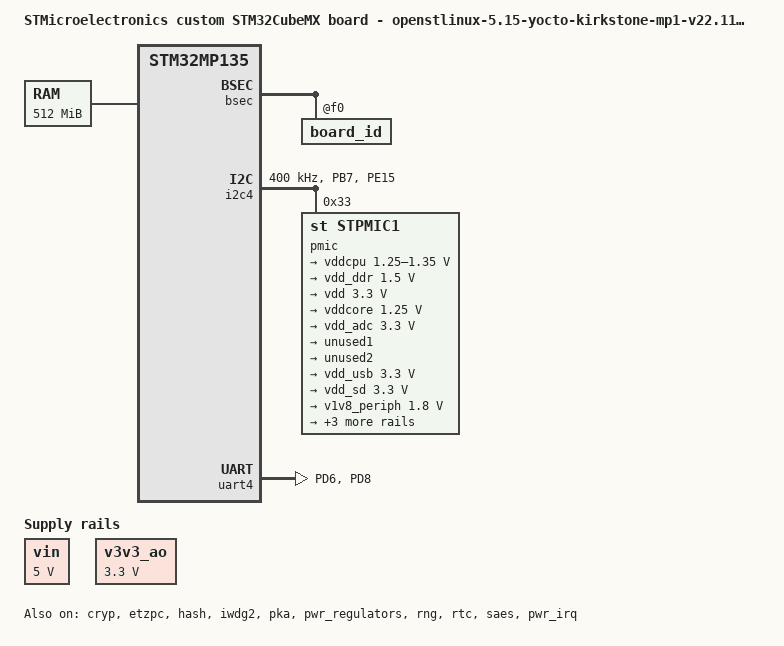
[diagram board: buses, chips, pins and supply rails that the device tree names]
/* SPDX-License-Identifier: (GPL-2.0+ OR BSD-3-Clause) */
/*
 * Copyright (C) STMicroelectronics 2023 - All Rights Reserved
 * Author: STM32CubeMX code generation for STMicroelectronics.
 */

/* For more information on Device Tree configuration, please refer to
 * https://wiki.st.com/stm32mpu/wiki/Category:Device_tree_configuration
 */

/dts-v1/;
#include <dt-bindings/pinctrl/stm32-pinfunc.h>
#include <dt-bindings/clock/stm32mp13-clksrc.h>
#include <dt-bindings/soc/stm32mp13-etzpc.h>

#include "stm32mp135.dtsi"
#include "stm32mp13xf.dtsi"

/* USER CODE BEGIN includes */
#include <dt-bindings/gpio/gpio.h>
#include <dt-bindings/gpio/stm32mp_gpio.h>
#include <dt-bindings/power/stm32mp1-power.h>
#include <dt-bindings/rtc/rtc-stm32.h>
#include <dt-bindings/soc/stm32mp-tzc400-macro.h>
#include <dt-bindings/soc/stm32mp13-tzc400.h>
/* USER CODE END includes */

/ {
	model = "STMicroelectronics custom STM32CubeMX board - openstlinux-5.15-yocto-kirkstone-mp1-v22.11.23";
	compatible = "st,stm32mp135f-sagittarius-mx", "st,stm32mp135";

	memory@c0000000 {
		device_type = "memory";
		reg = <0xc0000000 0x20000000>;

		/* USER CODE BEGIN memory */
		/* USER CODE END memory */
	};

	reserved-memory {
		#address-cells = <1>;
		#size-cells = <1>;
		ranges;

		/* USER CODE BEGIN reserved-memory */
		optee_framebuffer: optee-framebuffer@dd000000 {
				/* Secure framebuffer memory */
				reg = <0xdd000000 0x1000000>;
				st,protreg = <TZC_REGION_S_RDWR 0>;
		};
		/* USER CODE END reserved-memory */
	};

	/* USER CODE BEGIN root */
	aliases {
		serial0 = &uart4;
	};
	chosen {
		stdout-path = "serial0:115200n8";
	};
	
	vin: vin {
		compatible = "regulator-fixed";
		regulator-name = "vin";
		regulator-min-microvolt = <5000000>;
		regulator-max-microvolt = <5000000>;
		regulator-always-on;
	};

	v3v3_ao: v3v3_ao {
		compatible = "regulator-fixed";
		regulator-name = "v3v3_ao";
		regulator-min-microvolt = <3300000>;
		regulator-max-microvolt = <3300000>;
		regulator-always-on;
	};

	/* USER CODE END root */

	clocks {
		/* USER CODE BEGIN clocks */
		/* USER CODE END clocks */

		clk_hsi: clk-hsi {
			clock-frequency = <64000000>;

			/* USER CODE BEGIN clk_hsi */
			/* USER CODE END clk_hsi */
		};
		clk_lse: clk-lse {
			clock-frequency = <32768>;
			st,drive = < LSEDRV_MEDIUM_HIGH >;

			/* USER CODE BEGIN clk_lse */
			/* USER CODE END clk_lse */
		};
		clk_hse: clk-hse {
			clock-frequency = <24000000>;
			st,digbypass;

			/* USER CODE BEGIN clk_hse */
			/* USER CODE END clk_hse */
		};
		clk_i2sin: clk-i2sin {
			status = "disabled";

			/* USER CODE BEGIN clk_i2sin */
			/* USER CODE END clk_i2sin */
		};
	};

}; /*root*/

/*Warning: the configuration of the secured GPIOs should be added in (addons) User Section*/
&pinctrl {
	i2c4_pins_mx: i2c4_mx-0 {
		pins {
			pinmux = <STM32_PINMUX('B', 7, AF6)>, /* I2C4_SDA */
					 <STM32_PINMUX('E', 15, AF6)>; /* I2C4_SCL */
			bias-disable;
			drive-open-drain;
			slew-rate = <0>;
		};
	};

	/* USER CODE BEGIN pinctrl */
	wakeup_pins_mx: wakeup_pins_mx-0 {
		wakeup_pin_1: pins1 {
			pinmux = <STM32_PINMUX('F', 8, GPIO)>;
		};
		wakeup_pin_2: pins2 {
			pinmux = <STM32_PINMUX('I', 3, GPIO)>;
		};
		wakeup_pin_3: pins3 {
			pinmux = <STM32_PINMUX('C', 13, GPIO)>;
		};
		wakeup_pin_4: pins4 {
			pinmux = <STM32_PINMUX('I', 1, GPIO)>;
		};
		wakeup_pin_5: pins5 {
			pinmux = <STM32_PINMUX('I', 2, GPIO)>;
		};
		wakeup_pin_6: pins6 {
			pinmux = <STM32_PINMUX('A', 3, GPIO)>;
		};
	};

	uart4_pins_mx: uart4_mx-0 {
		pins1 {
			pinmux = <STM32_PINMUX('D', 6, AF8)>; /* UART4_TX */
			bias-disable;
			drive-push-pull;
			slew-rate = <0>;
		};
		pins2 {
			pinmux = <STM32_PINMUX('D', 8, AF8)>; /* UART4_RX */
			bias-disable;
		};
	};
	/* USER CODE END pinctrl */
};

&bsec{
	status = "okay";

	/* USER CODE BEGIN bsec */
	board_id: board_id@f0 {
		reg = <0xf0 0x4>;
		st,non-secure-otp;
	};
	/* USER CODE END bsec */
};

&cryp{
	status = "okay";

	/* USER CODE BEGIN cryp */
	/* USER CODE END cryp */
};

&etzpc{
	status = "okay";
	st,decprot = <
	/*"Non Secured" peripherals*/
	DECPROT(STM32MP1_ETZPC_ADC1_ID, DECPROT_NS_RW, DECPROT_UNLOCK)
	DECPROT(STM32MP1_ETZPC_ETH1_ID, DECPROT_NS_RW, DECPROT_UNLOCK)
	DECPROT(STM32MP1_ETZPC_ETH2_ID, DECPROT_NS_RW, DECPROT_UNLOCK)
	DECPROT(STM32MP1_ETZPC_I2C3_ID, DECPROT_NS_RW, DECPROT_UNLOCK)
	DECPROT(STM32MP1_ETZPC_LTDC_ID, DECPROT_NS_RW, DECPROT_UNLOCK)
	DECPROT(STM32MP1_ETZPC_QSPI_ID, DECPROT_NS_RW, DECPROT_UNLOCK)
	DECPROT(STM32MP1_ETZPC_SDMMC1_ID, DECPROT_NS_RW, DECPROT_UNLOCK)
	DECPROT(STM32MP1_ETZPC_SDMMC2_ID, DECPROT_NS_RW, DECPROT_UNLOCK)
	DECPROT(STM32MP1_ETZPC_LPTIM2_ID, DECPROT_NS_RW, DECPROT_UNLOCK)
	DECPROT(STM32MP1_ETZPC_LPTIM3_ID, DECPROT_NS_RW, DECPROT_UNLOCK)
	DECPROT(STM32MP1_ETZPC_TIM12_ID, DECPROT_NS_RW, DECPROT_UNLOCK)
	DECPROT(STM32MP1_ETZPC_TIM13_ID, DECPROT_NS_RW, DECPROT_UNLOCK)
	DECPROT(STM32MP1_ETZPC_TIM14_ID, DECPROT_NS_RW, DECPROT_UNLOCK)
	DECPROT(STM32MP1_ETZPC_TIM15_ID, DECPROT_NS_RW, DECPROT_UNLOCK)
	DECPROT(STM32MP1_ETZPC_TIM16_ID, DECPROT_NS_RW, DECPROT_UNLOCK)
	DECPROT(STM32MP1_ETZPC_TIM17_ID, DECPROT_NS_RW, DECPROT_UNLOCK)
	DECPROT(STM32MP1_ETZPC_SPI4_ID, DECPROT_NS_RW, DECPROT_UNLOCK)
	DECPROT(STM32MP1_ETZPC_USART1_ID, DECPROT_NS_RW, DECPROT_UNLOCK)
	DECPROT(STM32MP1_ETZPC_OTG_ID, DECPROT_NS_RW, DECPROT_UNLOCK)
	DECPROT(STM32MP1_ETZPC_USBPHYCTRL_ID, DECPROT_NS_RW, DECPROT_UNLOCK)
	DECPROT(STM32MP1_ETZPC_VREFBUF_ID, DECPROT_NS_RW, DECPROT_UNLOCK)
	DECPROT(STM32MP1_ETZPC_SRAM1_ID, DECPROT_NS_RW, DECPROT_UNLOCK)
	DECPROT(STM32MP1_ETZPC_SRAM2_ID, DECPROT_NS_RW, DECPROT_UNLOCK)
	DECPROT(STM32MP1_ETZPC_SRAM3_ID, DECPROT_NS_RW, DECPROT_UNLOCK)
	/*"NS_R S_W" peripherals*/
	DECPROT(STM32MP1_ETZPC_DDRCTRLPHY_ID, DECPROT_NS_R_S_W, DECPROT_UNLOCK)
	/*"Secured" peripherals*/
	DECPROT(STM32MP1_ETZPC_CRYP_ID, DECPROT_S_RW, DECPROT_UNLOCK)
	DECPROT(STM32MP1_ETZPC_HASH_ID, DECPROT_S_RW, DECPROT_UNLOCK)
	DECPROT(STM32MP1_ETZPC_I2C4_ID, DECPROT_S_RW, DECPROT_UNLOCK)
	DECPROT(STM32MP1_ETZPC_PKA_ID, DECPROT_S_RW, DECPROT_UNLOCK)
	DECPROT(STM32MP1_ETZPC_RNG_ID, DECPROT_S_RW, DECPROT_UNLOCK)
	DECPROT(STM32MP1_ETZPC_SAES_ID, DECPROT_S_RW, DECPROT_UNLOCK)
	DECPROT(STM32MP1_ETZPC_STGENC_ID, DECPROT_S_RW, DECPROT_UNLOCK)

	/*Restriction: following IDs are not managed  - please to use User-Section if needed:
		  STM32MP1_ETZPC_SRAMx_ID  STM32MP1_ETZPC_BKPSRAM_ID*/

	/* USER CODE BEGIN etzpc_decprot */
		/*STM32CubeMX generates a basic and standard configuration for ETZPC.
		Additional device configurations can be added here if needed.
		"etzpc" node could be also overloaded in "addons" User-Section.*/
	/* USER CODE END etzpc_decprot */
	>;

	/* USER CODE BEGIN etzpc */
	/* USER CODE END etzpc */
};

&hash{
	status = "okay";

	/* USER CODE BEGIN hash */
	/* USER CODE END hash */
};

&i2c4{
	pinctrl-names = "default";
	pinctrl-0 = <&i2c4_pins_mx>;
	status = "okay";

	/* USER CODE BEGIN i2c4 */
	i2c-scl-rising-time-ns = <185>;
	i2c-scl-falling-time-ns = <20>;
	clock-frequency = <400000>;

	pmic: stpmic@33 {
		compatible = "st,stpmic1";
		reg = <0x33>;
		status = "okay";
		st,wakeup-pin-number = <2>;
		st,notif-it-id = <0>;

		regulators {
			compatible = "st,stpmic1-regulators";
			buck1-supply = <&vin>;
			buck2-supply = <&vin>;
			buck3-supply = <&vin>;
			buck4-supply = <&vin>;
			ldo1-supply = <&vin>;
			ldo4-supply = <&vin>;
			ldo5-supply = <&vin>;
			ldo6-supply = <&vin>;
			vref_ddr-supply = <&vin>;
			pwr_sw2-supply = <&v3v3_ao>;

			vddcpu: buck1 {
				regulator-name = "vddcpu";
				regulator-min-microvolt = <1250000>;
				regulator-max-microvolt = <1350000>;
				regulator-always-on;
				regulator-over-current-protection;

				lp-stop {
					regulator-suspend-microvolt = <1250000>;
				};
				lplv-stop {
					regulator-suspend-microvolt = <900000>;
				};
				lplv-stop2 {
					regulator-off-in-suspend;
				};
				standby-ddr-sr {
					regulator-off-in-suspend;
				};
				standby-ddr-off {
					regulator-off-in-suspend;
				};
			};

			vdd_ddr: buck2 {
				regulator-name = "vdd_ddr";
				regulator-min-microvolt = <1500000>;
				regulator-max-microvolt = <1500000>;
				regulator-always-on;
				regulator-over-current-protection;

				standby-ddr-off {
					regulator-off-in-suspend;
				};
			};

			vdd: buck3 {
				regulator-name = "vdd";
				regulator-min-microvolt = <3300000>;
				regulator-max-microvolt = <3300000>;
				regulator-always-on;
				st,mask-reset;
				regulator-over-current-protection;
			};

			vddcore: buck4 {
				regulator-name = "vddcore";
				regulator-min-microvolt = <1250000>;
				regulator-max-microvolt = <1250000>;
				regulator-always-on;
				regulator-over-current-protection;

				lplv-stop {
					regulator-suspend-microvolt = <900000>;
				};
				lplv-stop2 {
					regulator-suspend-microvolt = <900000>;
				};
				standby-ddr-sr {
					regulator-off-in-suspend;
				};
				standby-ddr-off {
					regulator-off-in-suspend;
				};
			};

			vdd_adc: ldo5 {
				regulator-name = "vdd_adc";
				regulator-min-microvolt = <3300000>;
				regulator-max-microvolt = <3300000>;

				standby-ddr-sr {
					regulator-off-in-suspend;
				};
				standby-ddr-off {
					regulator-off-in-suspend;
				};
			};

			unused1: ldo2 {
				regulator-name = "ldo2";
			};

			unused2: ldo3 {
				regulator-name = "ldo3";
			};

			vdd_usb: ldo4 {
				regulator-name = "vdd_usb";
				regulator-min-microvolt = <3300000>;
				regulator-max-microvolt = <3300000>;

				standby-ddr-sr {
					regulator-off-in-suspend;
				};
				standby-ddr-off {
					regulator-off-in-suspend;
				};
			};

			vdd_sd: ldo1 {
				regulator-name = "vdd_sd";
				regulator-min-microvolt = <3300000>;
				regulator-max-microvolt = <3300000>;
				regulator-boot-on;

				standby-ddr-sr {
					regulator-off-in-suspend;
				};
				standby-ddr-off {
					regulator-off-in-suspend;
				};
			};

			v1v8_periph: ldo6 {
				regulator-name = "v1v8_periph";
				regulator-min-microvolt = <1800000>;
				regulator-max-microvolt = <1800000>;

				standby-ddr-sr {
					regulator-off-in-suspend;
				};
				standby-ddr-off {
					regulator-off-in-suspend;
				};
			};

			vref_ddr: vref_ddr {
				regulator-name = "vref_ddr";
				regulator-always-on;

				standby-ddr-sr {
					regulator-off-in-suspend;
				};
				standby-ddr-off {
					regulator-off-in-suspend;
				};
			};

			unused3: boost {
				regulator-name = "bst_out";
			};

			v3v3_sw: pwr_sw2 {
				regulator-name = "v3v3_sw";
				regulator-active-discharge = <1>;
				regulator-min-microvolt = <3300000>;
				regulator-max-microvolt = <3300000>;
			};
		};
	};
	/* USER CODE END i2c4 */
};

&iwdg2{
	status = "okay";

	/* USER CODE BEGIN iwdg2 */
	timeout-sec = <32>;
	secure-timeout-sec = <5>;
	/* USER CODE END iwdg2 */
};

&pka{
	status = "okay";

	/* USER CODE BEGIN pka */
	/* USER CODE END pka */
};

&pwr_regulators{
	status = "okay";

	/* USER CODE BEGIN pwr_regulators */
	system_suspend_supported_soc_modes = <
		STM32_PM_CSLEEP_RUN
		STM32_PM_CSTOP_ALLOW_LP_STOP
		STM32_PM_CSTOP_ALLOW_LPLV_STOP
		STM32_PM_CSTOP_ALLOW_LPLV_STOP2
		STM32_PM_CSTOP_ALLOW_STANDBY_DDR_SR
	>;
	system_off_soc_mode = <STM32_PM_SHUTDOWN>;
	vdd-supply = <&vdd>;
	vdd_3v3_usbfs-supply = <&vdd_usb>;
	/* USER CODE END pwr_regulators */
};

&rcc{
	status = "okay";
	clocks = <&clk_hse>, <&clk_hsi>, <&clk_lse>, <&clk_lsi>, <&clk_csi>;
	clock-names = "clk-hse", "clk-hsi", "clk-lse", "clk-lsi", "clk-csi";

	/* USER CODE BEGIN rcc */
	/* USER CODE END rcc */

	st,clksrc = <
		CLK_MPU_PLL1P
		CLK_AXI_PLL2P
		CLK_MLAHBS_PLL3
		CLK_RTC_LSE
		CLK_MCO1_DISABLED
		CLK_MCO2_DISABLED
		CLK_QSPI_PLL4P
		CLK_CKPER_DISABLED
		CLK_ETH1_PLL3Q
		CLK_ETH2_PLL3Q
		CLK_SDMMC1_PLL3R
		CLK_SDMMC2_PLL4P
		CLK_STGEN_HSI
		CLK_USBPHY_HSE
		CLK_SPI1_PLL4P
		CLK_SPI23_PLL4P
		CLK_SPI4_PCLK6
		CLK_I2C4_PCLK6
		CLK_USBO_PLL4R
		CLK_ADC1_PLL3Q
		CLK_I2C12_PCLK1
		CLK_I2C3_PCLK6
		CLK_UART1_PCLK6
		CLK_UART4_PCLK1
		CLK_UART35_PCLK1
		CLK_UART6_PCLK2
		CLK_UART78_PCLK1
		CLK_FDCAN_PLL3Q
		CLK_RNG1_CSI
		CLK_SAES_AXI
	>;
	st,clkdiv = <
		DIV(DIV_MPU, 1)
		DIV(DIV_AXI, 0)
		DIV(DIV_MLAHB, 0)
		DIV(DIV_APB1, 1)
		DIV(DIV_APB2, 1)
		DIV(DIV_APB3, 1)
		DIV(DIV_APB4, 1)
		DIV(DIV_APB5, 2)
		DIV(DIV_APB6, 1)
		DIV(DIV_RTC, 0)
		DIV(DIV_MCO1, 0)
		DIV(DIV_MCO2, 0)
	>;
	st,pll_vco {
		pll1_vco_1800Mhz: pll1-vco-1800Mhz {
			src = < CLK_PLL12_HSE >;
			divmn = < 1 74 >;
		};
		pll2_vco_1066Mhz: pll2-vco-1066Mhz {
			src = < CLK_PLL12_HSE >;
			divmn = < 2 65 >;
			frac = < 0x1400 >;
		};
		pll3_vco_400Mhz: pll3-vco-400Mhz {
			src = < CLK_PLL3_HSE >;
			divmn = < 2 49 >;
		};
		pll4_vco_560Mhz: pll4-vco-560Mhz {
			src = < CLK_PLL4_HSE >;
			divmn = < 2 69 >;
		};

		/* USER CODE BEGIN rcc_st-pll_vco */

		pll1_vco_2000Mhz:pll1-vco-2000Mhz{
			src = < CLK_PLL12_HSE >;
			divmn = < 1 82 >;
			frac = < 0xAAA >;
		};
		/* USER CODE END rcc_st-pll_vco */
	};

	pll1:st,pll@0 {
		compatible = "st,stm32mp1-pll";
		reg = <0>;

		st,pll = < &pll1_cfg1 >;

		pll1_cfg1: pll1_cfg1 {
			st,pll_vco = < &pll1_vco_1800Mhz >;
			st,pll_div_pqr = < 0 1 1 >;
		};
		/* USER CODE BEGIN pll1 */
		pll1_cfg2: pll1_cfg2 {
			st,pll_vco = < &pll1_vco_2000Mhz >;
			st,pll_div_pqr = < 0 1 1 >;
		};
		/* USER CODE END pll1 */
	};

	pll2:st,pll@1 {
		compatible = "st,stm32mp1-pll";
		reg = <1>;

		st,pll = < &pll2_cfg1 >;

		pll2_cfg1: pll2_cfg1 {
			st,pll_vco = < &pll2_vco_1066Mhz >;
			st,pll_div_pqr = < 1 1 0 >;
		};
		/* USER CODE BEGIN pll2 */
		/* USER CODE END pll2 */
	};

	pll3:st,pll@2 {
		compatible = "st,stm32mp1-pll";
		reg = <2>;

		st,pll = < &pll3_cfg1 >;

		pll3_cfg1: pll3_cfg1 {
			st,pll_vco = < &pll3_vco_400Mhz >;
			st,pll_div_pqr = < 1 7 1 >;
		};
		/* USER CODE BEGIN pll3 */
		/* USER CODE END pll3 */
	};

	pll4:st,pll@3 {
		compatible = "st,stm32mp1-pll";
		reg = <3>;

		st,pll = < &pll4_cfg1 >;

		pll4_cfg1: pll4_cfg1 {
			st,pll_vco = < &pll4_vco_560Mhz >;
			st,pll_div_pqr = < 3 6 0 >;
		};
		/* USER CODE BEGIN pll4 */
		/* USER CODE END pll4 */
	};

	st,clk_opp {
		/* CK_MPU clock config for MP13 */
		st,ck_mpu {

			cfg_1 {
				hz = < 1000000000 >;
				st,clksrc = < CLK_MPU_PLL1P >;
				st,pll = < &pll1_cfg2 >;
			};
			/* USER CODE BEGIN rcc_st-ck_mpu */
			cfg_2 {
				hz = < 650000000 >;
				st,clksrc = < CLK_MPU_PLL1P >;
				st,pll = < &pll1_cfg1 >;
			};
			/* USER CODE END rcc_st-ck_mpu */
		};

		/* CK_AXI clock config for MP13 */
		st,ck_axi {

			cfg_1 {
				hz = < 266500000 >;
				st,clksrc = < CLK_AXI_PLL2P >;
				st,clkdiv = < DIV(DIV_AXI, 0) >;
				st,pll = < &pll2_cfg1 >;
			};
			/* USER CODE BEGIN rcc_st-ck_axi */
			/* USER CODE END rcc_st-ck_axi */
		};

		/* CK_MLAHBS clock config for MP13 */
		st,ck_mlahbs {

			cfg_1 {
				hz = < 200000000 >;
				st,clksrc = < CLK_MLAHBS_PLL3 >;
				st,clkdiv = < DIV(DIV_MLAHB, 0) >;
				st,pll = < &pll3_cfg1 >;
			};

			/* USER CODE BEGIN rcc_st-ck_mlahbs */
			/* USER CODE END rcc_st-ck_mlahbs */
		};
	};
};

&rng{
	status = "okay";

	/* USER CODE BEGIN rng */
	clock-error-detect;
	/* USER CODE END rng */
};

&rtc{
	status = "okay";

	/* USER CODE BEGIN rtc */
	/* USER CODE END rtc */
};

&saes{
	status = "okay";

	/* USER CODE BEGIN saes */
	/* USER CODE END saes */
};

/* USER CODE BEGIN addons */
&cpu0{
	cpu-supply = <&vddcpu>;
};

&tzc400 {
	memory-region =	<&optee_framebuffer>;
};

&scmi_regu{

	scmi_vddcpu:voltd-vddcpu{
		voltd-name = "vddcpu";
		regulator-name = "vddcpu";
	};

	scmi_vdd:voltd-vdd{
		voltd-name = "vdd";
		regulator-name = "vdd";
	};

	scmi_vddcore:voltd-vddcore{
		voltd-name = "vddcore";
		regulator-name = "vddcore";
	};

	scmi_vdd_adc:voltd-vdd_adc{
		voltd-name = "vdd_adc";
		regulator-name = "vdd_adc";
	};

	scmi_vdd_usb:voltd-vdd_usb{
		voltd-name = "vdd_usb";
		regulator-name = "vdd_usb";
	};

	scmi_vdd_sd:voltd-vdd_sd{
		voltd-name = "vdd_sd";
		regulator-name = "vdd_sd";
	};

	scmi_v1v8_periph:voltd-v1v8_periph{
		voltd-name = "v1v8_periph";
		regulator-name = "v1v8_periph";
	};

	scmi_v3v3_sw:voltd-v3v3_sw{
		voltd-name = "v3v3_sw";
		regulator-name = "v3v3_sw";
	};
};

&saes{
	status = "okay";

	/* USER CODE BEGIN saes */
	/* USER CODE END saes */
};

&oem_enc_key{
	st,non-secure-otp-provisioning;
};

&gpioc{
	st,protreg = < (TZPROT(13)) >;
};

&gpioe{
	st,protreg = < (TZPROT(15)) >;
};

&gpiob{
	st,protreg = < (TZPROT(7)) >;
};

&gpioi{
	st,protreg = < (TZPROT(1)) >;
};

&pwr_irq{
	pinctrl-names = "default";
	pinctrl-0 = <&wakeup_pins_mx>;
	status = "okay";
};

&uart4{
	pinctrl-names = "default";
	pinctrl-0 = <&uart4_pins_mx>;
	status = "okay";
};

/* USER CODE END addons */

